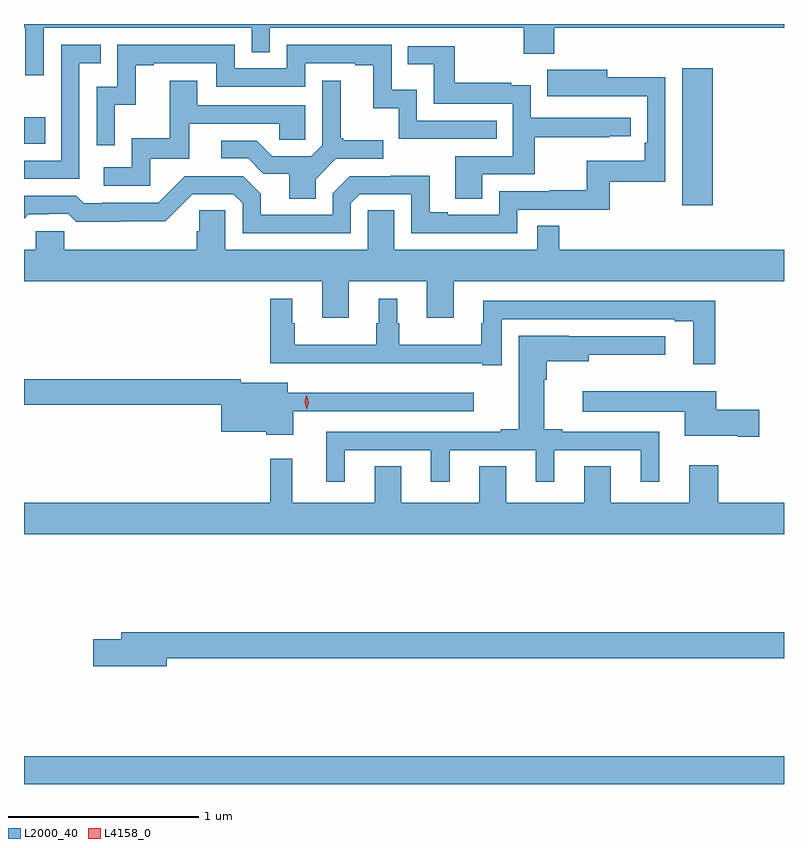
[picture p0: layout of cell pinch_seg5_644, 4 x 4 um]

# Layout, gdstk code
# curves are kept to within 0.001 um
import gdstk
lib = gdstk.Library(unit=1e-6, precision=1e-09)
def R(c, l, rs):  # rectangles x0, y0, x1, y1
    for r in rs: c.add(gdstk.rectangle(r[:2], r[2:], *l))
def P(c, l, *ps):  # polygons
    for p in ps: c.add(gdstk.Polygon(p, *l))
L2000_40 = (2000, 40)
L4158_0 = (4158, 0)

pinch_seg5_644 = lib.new_cell('pinch_seg5_644')
R(pinch_seg5_644, L2000_40, [(1017.674,834.133,1021.674,834.28), (1021.139,837.18,1021.3,837.901), (1017.674,837.503,1017.785,837.643)])
P(pinch_seg5_644, L2000_40, [(1017.777,838.112),(1018.872,838.112),(1018.872,837.985),(1018.968,837.985),(1018.968,838.112),(1020.304,838.112),(1020.304,837.977),(1020.464,837.977),(1020.464,838.112),(1021.674,838.112),(1021.674,838.133),(1017.674,838.133),(1017.674,838.112),(1017.68,838.112),(1017.68,837.864),(1017.777,837.864)],
  [(1017.966,837.927),(1018.079,837.927),(1018.079,838.023),(1017.87,838.023),(1017.87,837.414),(1017.674,837.414),(1017.674,837.318),(1017.966,837.318)],
  [(1018.152,837.707),(1018.262,837.707),(1018.262,837.915),(1018.357,837.915),(1018.357,837.927),(1018.686,837.927),(1018.686,837.804),(1019.154,837.804),(1019.154,837.927),(1019.417,837.927),(1019.417,837.915),(1019.513,837.915),(1019.513,837.689),(1019.646,837.689),(1019.646,837.528),(1020.161,837.528),(1020.161,837.624),(1019.742,837.624),(1019.742,837.787),(1019.61,837.787),(1019.61,838.023),(1019.058,838.023),(1019.058,837.9),(1018.782,837.9),(1018.782,838.023),(1018.164,838.023),(1018.164,837.804),(1018.056,837.804),(1018.056,837.495),(1018.152,837.495)],
  [(1020.085,837.342),(1020.362,837.342),(1020.362,837.538),(1020.755,837.538),(1020.755,837.543),(1020.868,837.543),(1020.868,837.639),(1020.342,837.639),(1020.342,837.811),(1020.239,837.811),(1020.239,837.823),(1019.941,837.823),(1019.941,838.017),(1019.695,838.017),(1019.695,837.92),(1019.83,837.92),(1019.83,837.714),(1020.246,837.714),(1020.246,837.438),(1019.945,837.438),(1019.945,837.214),(1020.085,837.214)],
  [(1019.394,837.189),(1019.442,837.237),(1019.712,837.237),(1019.712,837.033),(1020.27,837.033),(1020.27,837.156),(1020.757,837.156),(1020.757,837.303),(1021.05,837.303),(1021.05,837.854),(1020.745,837.854),(1020.745,837.892),(1020.427,837.892),(1020.427,837.752),(1020.954,837.753),(1020.954,837.508),(1020.941,837.508),(1020.941,837.412),(1020.636,837.412),(1020.636,837.257),(1020.439,837.257),(1020.439,837.252),(1020.174,837.252),(1020.174,837.129),(1019.905,837.129),(1019.905,837.142),(1019.809,837.142),(1019.809,837.335),(1019.604,837.335),(1019.604,837.333),(1019.388,837.333),(1019.298,837.243),(1019.298,837.129),(1018.921,837.129),(1018.921,837.239),(1018.827,837.333),(1018.521,837.333),(1018.38,837.192),(1018.087,837.192),(1018.087,837.189),(1017.988,837.189),(1017.949,837.228),(1017.674,837.228),(1017.674,837.109),(1017.697,837.132),(1017.804,837.132),(1017.804,837.135),(1017.907,837.135),(1017.949,837.093),(1018.182,837.093),(1018.182,837.095),(1018.418,837.095),(1018.56,837.237),(1018.776,837.237),(1018.824,837.189),(1018.824,837.033),(1019.394,837.033)],
  [(1018.338,837.423),(1018.543,837.423),(1018.543,837.609),(1019.017,837.609),(1019.017,837.525),(1019.154,837.525),(1019.154,837.705),(1018.585,837.705),(1018.585,837.835),(1018.441,837.835),(1018.441,837.532),(1018.242,837.532),(1018.242,837.378),(1018.095,837.378),(1018.095,837.282),(1018.338,837.282)],
  [(1019.209,837.316),(1019.316,837.423),(1019.566,837.423),(1019.566,837.52),(1019.353,837.52),(1019.353,837.532),(1019.341,837.532),(1019.341,837.835),(1019.244,837.835),(1019.244,837.495),(1019.187,837.438),(1018.981,837.438),(1018.9,837.519),(1018.713,837.519),(1018.713,837.426),(1018.854,837.426),(1018.934,837.346),(1019.069,837.346),(1019.069,837.214),(1019.209,837.214)],
  [(1019.383,836.78),(1019.795,836.78),(1019.795,836.586),(1019.935,836.586),(1019.935,836.78),(1021.674,836.78),(1021.674,836.944),(1020.491,836.944),(1020.491,837.071),(1020.375,837.071),(1020.375,836.944),(1019.623,836.944),(1019.623,837.152),(1019.484,837.152),(1019.484,836.944),(1018.734,836.944),(1018.734,837.152),(1018.597,837.152),(1018.597,837.042),(1018.583,837.042),(1018.583,836.944),(1017.885,836.944),(1017.885,837.042),(1017.735,837.042),(1017.735,836.944),(1017.674,836.944),(1017.674,836.78),(1019.243,836.78),(1019.243,836.586),(1019.383,836.586)],
  [(1020.189,836.58),(1021.1,836.58),(1021.1,836.568),(1021.196,836.568),(1021.196,836.343),(1021.313,836.343),(1021.313,836.676),(1020.092,836.676),(1020.092,836.558),(1020.081,836.558),(1020.081,836.446),(1019.65,836.446),(1019.65,836.558),(1019.638,836.558),(1019.638,836.686),(1019.54,836.686),(1019.54,836.558),(1019.529,836.558),(1019.529,836.446),(1019.098,836.446),(1019.098,836.558),(1019.086,836.558),(1019.086,836.686),(1018.969,836.686),(1018.969,836.348),(1020.086,836.348),(1020.086,836.337),(1020.189,836.337)],
  [(1019.362,835.89),(1019.816,835.89),(1019.816,835.725),(1019.914,835.725),(1019.914,835.89),(1020.368,835.89),(1020.368,835.725),(1020.466,835.725),(1020.466,835.89),(1020.92,835.89),(1020.92,835.725),(1021.018,835.725),(1021.018,835.986),(1020.508,835.986),(1020.508,835.999),(1020.412,835.999),(1020.412,836.261),(1020.425,836.261),(1020.425,836.357),(1020.646,836.357),(1020.646,836.393),(1021.048,836.393),(1021.048,836.49),(1020.542,836.49),(1020.542,836.491),(1020.278,836.491),(1020.278,835.999),(1020.182,835.999),(1020.182,835.986),(1019.264,835.986),(1019.264,835.725),(1019.362,835.725)],
  [(1019.092,836.094),(1020.04,836.094),(1020.04,836.191),(1019.062,836.191),(1019.062,836.245),(1018.816,836.245),(1018.816,836.264),(1017.674,836.264),(1017.674,836.128),(1018.712,836.128),(1018.712,835.988),(1018.95,835.988),(1018.95,835.97),(1019.092,835.97)],
  [(1021.543,836.102),(1021.318,836.102),(1021.318,836.2),(1020.615,836.2),(1020.615,836.093),(1021.151,836.093),(1021.151,835.967),(1021.43,835.967),(1021.43,835.96),(1021.543,835.96)],
  [(1021.674,835.612),(1021.328,835.612),(1021.328,835.81),(1021.175,835.81),(1021.175,835.612),(1020.763,835.612),(1020.763,835.805),(1020.623,835.805),(1020.623,835.612),(1020.211,835.612),(1020.211,835.805),(1020.071,835.805),(1020.071,835.612),(1019.659,835.612),(1019.659,835.805),(1019.519,835.805),(1019.519,835.612),(1019.087,835.612),(1019.087,835.846),(1018.969,835.846),(1018.969,835.612),(1017.674,835.612),(1017.674,835.448),(1021.674,835.448)],
  [(1018.426,834.796),(1021.674,834.796),(1021.674,834.932),(1018.187,834.932),(1018.187,834.896),(1018.038,834.896),(1018.038,834.754),(1018.426,834.754)])
P(pinch_seg5_644, L4158_0, [(1019.162,836.106),(1019.152,836.141),(1019.16,836.177),(1019.161,836.177),(1019.161,836.177),(1019.172,836.142),(1019.163,836.106),(1019.163,836.106)])

lib.write_gds('pinch_seg5_644.gds')
